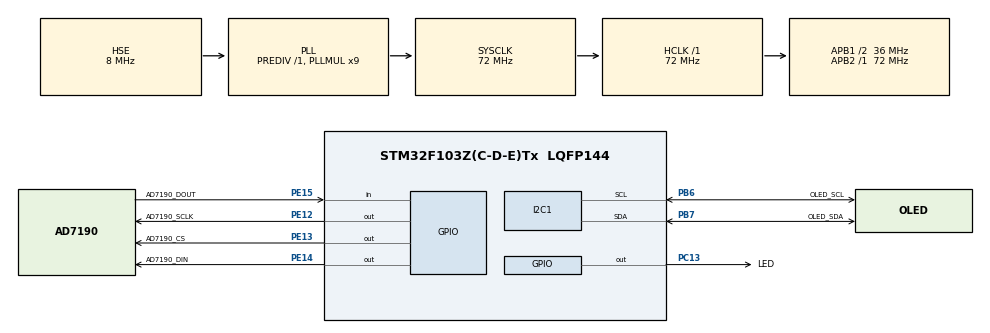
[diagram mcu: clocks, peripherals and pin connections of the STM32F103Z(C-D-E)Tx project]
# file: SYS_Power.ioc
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Mcu.Family=STM32F1
Mcu.Name=STM32F103Z(C-D-E)Tx
Mcu.Package=LQFP144
NVIC.PriorityGroup=NVIC_PRIORITYGROUP_4
OSC_IN.Mode=HSE-External-Oscillator
OSC_IN.Signal=RCC_OSC_IN
OSC_OUT.Mode=HSE-External-Oscillator
OSC_OUT.Signal=RCC_OSC_OUT
PA13.Mode=Serial_Wire
PA13.Signal=SYS_JTMS-SWDIO
PA14.Mode=Serial_Wire
PA14.Signal=SYS_JTCK-SWCLK
PB6.GPIO_Label=OLED_SCL
PB6.Mode=I2C
PB6.Signal=I2C1_SCL
PB7.GPIO_Label=OLED_SDA
PB7.Mode=I2C
PB7.Signal=I2C1_SDA
PC13-TAMPER-RTC.GPIO_Label=LED
PC13-TAMPER-RTC.Signal=GPIO_Output
PE12.GPIO_Label=AD7190_SCLK
PE12.Signal=GPIO_Output
PE13.GPIO_Label=AD7190_CS
PE13.Signal=GPIO_Output
PE14.GPIO_Label=AD7190_DIN
PE14.Signal=GPIO_Output
PE15.GPIO_Label=AD7190_DOUT
PE15.GPIO_PuPd=GPIO_PULLUP
PE15.Signal=GPIO_Input
ProjectManager.HeapSize=0x200
ProjectManager.StackSize=0x400
ProjectManager.TargetToolchain=CMake
RCC.AHBFreq_Value=72000000
RCC.APB1CLKDivider=RCC_HCLK_DIV2
RCC.APB1Freq_Value=36000000
RCC.APB1TimFreq_Value=72000000
RCC.APB2Freq_Value=72000000
RCC.APB2TimFreq_Value=72000000
RCC.HCLKFreq_Value=72000000
RCC.PLLMUL=RCC_PLL_MUL9
RCC.PLLSourceVirtual=RCC_PLLSOURCE_HSE
RCC.SYSCLKFreq_VALUE=72000000
RCC.SYSCLKSource=RCC_SYSCLKSOURCE_PLLCLK
RCC.USBFreq_Value=72000000
board=custom

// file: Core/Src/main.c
/* USER CODE BEGIN Header */
/**
 ******************************************************************************
 * @file           : main.c
 * @brief          : Main program body
 ******************************************************************************
 * @attention
 *
 * Copyright (c) 2026 STMicroelectronics.
 * All rights reserved.
 *
 * This software is licensed under terms that can be found in the LICENSE file
 * in the root directory of this software component.
 * If no LICENSE file comes with this software, it is provided AS-IS.
 *
 ******************************************************************************
 */
/* USER CODE END Header */
#include "main.h"
#include "font.h"
#include "i2c.h"
#include "gpio.h"

/* USER CODE BEGIN Includes */
#include "delay.h"
#include "oled.h"

#include "ad7190.h"
#include <stdint.h>
#include <stdio.h>
/* USER CODE END Includes */

void SystemClock_Config(void);

int main(void)
{

    /* MCU Configuration--------------------------------------------------------*/
    HAL_Init();
    SystemClock_Config();
    MX_GPIO_Init();
    MX_I2C1_Init();
    /* USER CODE BEGIN 2 */

    delay_init(72);
    delay_ms(20);
    OLED_Init();
    AD7190_Restart();
    delay_ms(20);

    uint32_t DataReg_Val = 0;
    float Vin_adc = 0;
    float VREF = 3.32f;
    float Vin_real = 0;

    uint8_t show_buffer[10];
    uint8_t show_buffer2[10];
    uint8_t show_buffer3[10];
    uint8_t Show_Mode_Reg_buffer[10];

    uint8_t Show_DataReg_buffer[20];
    uint8_t show_real_vin[20];

    uint32_t ConfigureReg_Val = 0;
    uint8_t Show_ConfigureReg_Val_buffer[10];

    uint8_t temp = 0;
    uint8_t show_no_stuck_buffer[4];
    uint8_t AD7190_Status_Rig_Data = 0;
    uint32_t AD7190_Mode_Reg_Val = 0;
    uint8_t show_no_stuck = 0;
    AD7190_Write_ConfigureReg(0x001008); // 0 00 0 0000 0001 0000 0 0 0 0 1 000 -> 001008
    delay_ms(5);
    //AD7190_Write_ModeReg(0x280060); // 001 | 0 | 10 | 00 | 0 | 0 | 0 | 0 | 0 | 0 | 00 0110 0000 -> 0010 1000 0000 0000 0110 0000 -> 0x280060
    AD7190_Write_ModeReg(0x2C0060); // 001 0 11 00 0 0 0 0 0 0 00|0110|0000 -> 2C0060
    do {
        ad7190_CS_LOW();
        AD7190_Transmit(0x40); // 读状态寄存器命令
        AD7190_Status_Rig_Data = AD7190_ReadData();
        ad7190_CS_HIGH();
    } while (AD7190_Status_Rig_Data & 0x80); // 等待 RDY = 0
    DataReg_Val = AD7190_Read_Data_Reg();
    snprintf((char*)Show_DataReg_buffer, sizeof(Show_DataReg_buffer), "%06X", DataReg_Val);
    OLED_PrintString(0, 16, "DataReg:", &font16x16, OLED_COLOR_NORMAL);
    OLED_PrintString(80, 16, (char*)Show_DataReg_buffer, &font16x16, OLED_COLOR_NORMAL);

    /*
     *
     * 更改配置寄存器后先查看一次配置寄存器和模式寄存器的值
     *
     *
     */
    ConfigureReg_Val = AD7190_Read_ConfigtureReg();
    snprintf((char*)Show_ConfigureReg_Val_buffer, sizeof(Show_ConfigureReg_Val_buffer), "%06X", ConfigureReg_Val);
    OLED_PrintString(0, 48, (char*)Show_ConfigureReg_Val_buffer, &font16x16, OLED_COLOR_NORMAL);

    AD7190_Mode_Reg_Val = AD7190_Read_Mode_Reg();
    snprintf((char*)Show_Mode_Reg_buffer, sizeof(Show_Mode_Reg_buffer), "%06X", AD7190_Mode_Reg_Val);
//    OLED_PrintString(0, 32, "ModeReg:", &font16x16, OLED_COLOR_NORMAL);
//    OLED_PrintString(80, 32, (char*)Show_Mode_Reg_buffer, &font16x16, OLED_COLOR_NORMAL);

    OLED_ShowFrame();

    delay_ms(1000);

    /* USER CODE END 2 */

    /* Infinite loop */
    /* USER CODE BEGIN WHILE */
    while (1)
    {
        OLED_NewFrame();

        // 第一次读取状态寄存器（复位后默认值0x80，正常）

        ad7190_CS_LOW();
        AD7190_Transmit(0x40);
        AD7190_Status_Rig_Data = AD7190_ReadData();
        ad7190_CS_HIGH();
        /*
         * adc status reg.
         */
        // snprintf((char*)show_buffer, sizeof(show_buffer), "%02X", AD7190_Status_Rig_Data);
        // OLED_PrintString(0, 0, "ADC Status:", &font16x16, OLED_COLOR_NORMAL);
        // OLED_PrintString(112, 0, (char*)show_buffer, &font16x16, OLED_COLOR_NORMAL);

        /*
         * write configure and mode register.
         */

        /*
         * read and show data register.
         */
        AD7190_Write_ModeReg(0x2C0060); // 再次触发单次转换
        do {
            ad7190_CS_LOW();
            AD7190_Transmit(0x40);
            AD7190_Status_Rig_Data = AD7190_ReadData();
            ad7190_CS_HIGH();
        } while (AD7190_Status_Rig_Data & 0x80); // 等待 RDY
        DataReg_Val = AD7190_Read_Data_Reg();
        Vin_adc = ((float)DataReg_Val / 16777215.0f) * VREF;
        Vin_real = Vin_adc * 1.56f;
        snprintf((char*)show_real_vin, sizeof(show_real_vin), "Vin_real:%.4f V", Vin_real);
        OLED_PrintString(0, 16, (char*)show_real_vin, &font16x16, OLED_COLOR_NORMAL);

        snprintf((char*)Show_DataReg_buffer, sizeof(Show_DataReg_buffer), "Vin_adc:%.4f V", Vin_adc);
        OLED_PrintString(0, 32, (char*)Show_DataReg_buffer, &font16x16, OLED_COLOR_NORMAL);

        /*
        // 写入模式寄存器（单次转换模式）
        AD7190_Write_ModeReg();

        // 补充关键延时：确保寄存器生效+转换完成
        delay_us(5);
        delay_ms(500);

        // 读取模式寄存器
        uint32_t mode_reg = AD7190_Read_ModeReg();
        snprintf((char*)show_buffer3, sizeof(show_buffer3), "%06X", mode_reg);

        OLED_PrintString(0, 32, "Mode Reg:", &font16x16, OLED_COLOR_NORMAL);
        OLED_PrintString(112, 32, (char*)show_buffer3, &font16x16, OLED_COLOR_NORMAL);
        */
        // 第二次读取状态寄存器（预期转换完成，RDY位=0，显示00）
        /*    ad7190_CS_LOW();
              AD7190_Transmit(0x40);
              AD7190_Status_Rig_Data = AD7190_ReadData();
              ad7190_CS_HIGH();

              snprintf((char*)show_buffer2, sizeof(show_buffer2), "%02X", AD7190_Status_Rig_Data);
              OLED_PrintString(0, 16, "ADC Status2:", &font16x16, OLED_COLOR_NORMAL);
              OLED_PrintString(112, 16, (char*)show_buffer2, &font16x16, OLED_COLOR_NORMAL);
              */

        /*
         * read mode reg.
         */
        // AD7190_Mode_Reg_Val = AD7190_Read_Mode_Reg();
        //
        // snprintf((char*)Show_Mode_Reg_buffer, sizeof(Show_Mode_Reg_buffer), "%06X", AD7190_Mode_Reg_Val);
        // OLED_PrintString(0, 32, "ModeReg:", &font16x16, OLED_COLOR_NORMAL);
        // OLED_PrintString(80, 32, (char*)Show_Mode_Reg_buffer, &font16x16, OLED_COLOR_NORMAL);

        /*
         * configure Reg.
         */
        // ConfigureReg_Val = AD7190_Read_ConfigtureReg();
        // snprintf((char*)Show_ConfigureReg_Val_buffer, sizeof(Show_ConfigureReg_Val_buffer), "%06X", ConfigureReg_Val);
        // OLED_PrintString(0, 48, "Conf_Reg", &font16x16, OLED_COLOR_NORMAL);
        // OLED_PrintString(64, 48, (char*)Show_ConfigureReg_Val_buffer, &font16x16, OLED_COLOR_NORMAL);

        delay_ms(200);

        OLED_ShowFrame();
    }
    /* USER CODE END 3 */
}
void SystemClock_Config(void)
{
    RCC_OscInitTypeDef RCC_OscInitStruct = {0};
    RCC_ClkInitTypeDef RCC_ClkInitStruct = {0};

    /** Initializes the RCC Oscillators according to the specified parameters
     * in the RCC_OscInitTypeDef structure.
     */
    RCC_OscInitStruct.OscillatorType = RCC_OSCILLATORTYPE_HSE;
    RCC_OscInitStruct.HSEState = RCC_HSE_ON;
    RCC_OscInitStruct.HSEPredivValue = RCC_HSE_PREDIV_DIV1;
    RCC_OscInitStruct.HSIState = RCC_HSI_ON;
    RCC_OscInitStruct.PLL.PLLState = RCC_PLL_ON;
    RCC_OscInitStruct.PLL.PLLSource = RCC_PLLSOURCE_HSE;
    RCC_OscInitStruct.PLL.PLLMUL = RCC_PLL_MUL9;
    if (HAL_RCC_OscConfig(&RCC_OscInitStruct) != HAL_OK)
    {
        Error_Handler();
    }

    /** Initializes the CPU, AHB and APB buses clocks
    */
    RCC_ClkInitStruct.ClockType = RCC_CLOCKTYPE_HCLK|RCC_CLOCKTYPE_SYSCLK
        |RCC_CLOCKTYPE_PCLK1|RCC_CLOCKTYPE_PCLK2;
    RCC_ClkInitStruct.SYSCLKSource = RCC_SYSCLKSOURCE_PLLCLK;
    RCC_ClkInitStruct.AHBCLKDivider = RCC_SYSCLK_DIV1;
    RCC_ClkInitStruct.APB1CLKDivider = RCC_HCLK_DIV2;
    RCC_ClkInitStruct.APB2CLKDivider = RCC_HCLK_DIV1;

    if (HAL_RCC_ClockConfig(&RCC_ClkInitStruct, FLASH_LATENCY_2) != HAL_OK)
    {
        Error_Handler();
    }
}

void Error_Handler(void)
{
    __disable_irq();
    while (1)
    {
    }
}
